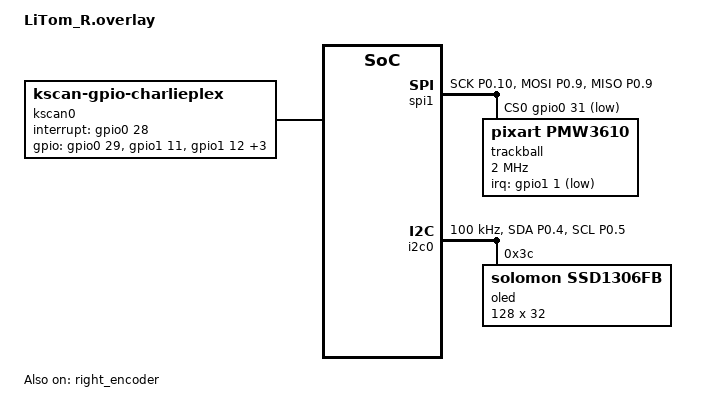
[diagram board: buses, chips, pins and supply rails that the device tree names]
#include <dt-bindings/zmk/matrix_transform.h>
#include <input/processors.dtsi>
#include <dt-bindings/zmk/input_transform.h>
#include <zephyr/dt-bindings/input/input-event-codes.h>
#include <physical_layouts.dtsi>
#include "LiTom.dtsi"

/ {
    chosen {
        zmk,kscan = &kscan0;
        zmk,physical-layout = &default_layout;
        zephyr,display = &oled;
    };

    kscan0: kscan0 {
        compatible = "zmk,kscan-gpio-charlieplex";
        // ディープスリープからの復帰口。これが無いと zmk_pm_suspend_devices() が
        // kscan も停止させてしまい (割り込み無効化 + ピン切断)、起こす手段が無くなる。
        wakeup-source;
        interrupt-gpios = <&gpio0 28 (GPIO_ACTIVE_HIGH | GPIO_PULL_DOWN)>;
        gpios
            = <&gpio0 29 GPIO_ACTIVE_HIGH>
            , <&gpio1 11 GPIO_ACTIVE_HIGH>
            , <&gpio1 12 GPIO_ACTIVE_HIGH>
            , <&gpio1 13 GPIO_ACTIVE_HIGH>
            , <&gpio1 14 GPIO_ACTIVE_HIGH>
            , <&gpio1 15 GPIO_ACTIVE_HIGH>
            ;
    };

    trackball_listener: trackball_listener {
        compatible = "zmk,input-listener";
        status = "disabled";
        device = <&trackball>;
    };

    // 慣性スクロール (iOS風): 玉を弾いて離すとスクロールが減衰しながら続く。
    // https://github.com/mjmjm0101/zmk-input-processor-scroll-inertia
    //
    // 設定値は zen-firmware の input-trackball-pmw3610 スニペットに合わせている。
    // 慣性出力は下流のプロセッサをバイパスしてホストへ直接送られるため、
    // scale / scale-div は下流 &zip_scroll_scaler の引数と一致させること。
    //
    // DYA Studio でのスクロール速度調整は &scroll_runtime_input_processor が
    // 担当する。これは慣性の「上流」に置いてあるので、Studio で倍率を変えると
    // 慣性が計測する速度自体が変わり、実スクロールと慣性が自動で同じだけ
    // スケールする。したがってここでは静的スケーラの分だけを見ればよい。
    scroll_inertia: scroll_inertia {
        compatible = "zmk,input-processor-scroll-inertia";
        #input-processor-cells = <0>;

        // 0 = 縦横フリー(zip_xy_to_scroll_mapper の挙動に合わせる), 1 = 縦のみ, 2 = 横のみ
        axis = <0>;
        layer = <2>;

        scale = <1>;
        scale-div = <13>;

        // --- センサーの送信間隔 16ms (62.5Hz) に合わせた値 ---
        // CONFIG_PMW3610_REPORT_INTERVAL_MIN=16 でイベント間隔が 8ms から
        // 16ms になったため、既定値 (125Hz 前提) から調整している。
        // 換算は本家 Wiki の Polling Rate Tuning Starting Points にある
        // 125Hz -> 250Hz の例を逆向きにたどったもの。
        // 送信間隔を 8ms に戻すなら、ここも括弧内の元の値へ戻すこと。

        // 慣性ループの間隔。センサーのレートに合わせる。
        tick = <16>;          // 8ms のときは 8

        // 打ち切り周波数 = stop * scale * (1000 / tick) / scale-div。
        // tick が倍になった分、同じ約 9.6Hz にするには stop も倍にする。
        stop = <2>;           // 8ms のときは 1

        // 指を離したと見なすまでの時間。3 フレーム相当。
        release = <48>;       // 既定 24 (125Hz で 3 フレーム)

        // 1 tick あたりの減衰率。tick が倍になったので、同じ時間で同じだけ
        // 減るように 0.990^2 = 0.980 とする。
        decay-fast = <980>;   // 既定 990
        decay-slow = <980>;   // 既定 990
        decay-tail = <980>;   // 既定 990
        peak-decay = <980>;   // 既定 990

        // --- 発動しやすさの調整 ---
        // 既定 (start=40 / move=80) は 1000cpi 基準。この機体は 600cpi で、
        // Studio 倍率 1.35 を掛けても 810cpi 相当なので約2割厳しい。
        // 「結構強く弾かないと効かない」ため、そこからさらに下げている。
        // 軽く転がしただけで惰性が乗るようなら既定値へ戻すこと。
        // 送信間隔を 16ms にすると 1 イベントあたりの移動量は倍になるが、
        // 本家 Wiki の例でもレートを変えて start / move は据え置いている
        // ので、まずはそのままにする。慣性が出やすくなったと感じたら上げる。
        start = <25>;      // 既定 40
        move = <50>;       // 既定 80

        // armed になるまでに必要なイベント数。時間で揃えるため、イベント
        // 間隔が倍になった分だけ半分にする (7 x 8ms ≒ 4 x 16ms ≒ 60ms)。
        min-events = <4>;  // 8ms のときは 7

        // 速度が小さいほど相対的に強く効く追加ブレーキ。1 tick ごとに引く
        // ので、tick が倍になった分だけ 1 回の量を倍にする。
        friction = <30>;   // 8ms のときは 15

        // COASTING 中に同方向イベントを吸収し続ける上限。これも時間で
        // 揃えるため半分にする (約 400ms 相当)。
        suppress-limit = <25>;  // 既定 50
    };
};

&default_transform {
    col-offset = <6>;
};

&right_encoder {
    status = "okay";
};

// XIAO Plus extra pins from the schematic:
// REA0=D11(P0.15), REA1=D12(P0.19), MOTION=D13(P1.01),
// SDIO=D14(P0.09), SCLK=D15(P0.10), CS=D16(P0.31).

// PMW3610設定 - SPI1を使用
&spi1 {
    status = "okay";
    cs-gpios = <&gpio0 31 GPIO_ACTIVE_LOW>;
    pinctrl-0 = <&spi1_default>;
    pinctrl-1 = <&spi1_sleep>;
    pinctrl-names = "default", "sleep";
    compatible = "nordic,nrf-spim";

    trackball: pd@0 {
        status = "okay";
        compatible = "pixart,pmw3610";
        reg = <0>;
        spi-max-frequency = <2000000>;
        irq-gpios = <&gpio1 1 (GPIO_ACTIVE_LOW | GPIO_PULL_UP)>;
        cpi = <600>;
        evt-type = <INPUT_EV_REL>;
        x-input-code = <INPUT_REL_X>;
        y-input-code = <INPUT_REL_Y>;

        // ZMK が ACTIVE の間はセンサーの省電力降格を止め、初動の遅れを無くす。
        // PMW3610 の降格はセンサー自身の動きだけで決まるため、これが無いと
        // タイピング中にセンサーが REST3 (500ms サンプリング) まで落ち、
        // ボールに触れてから反応するまで最大 0.5 秒かかる。
        // ZMK が IDLE (CONFIG_ZMK_IDLE_TIMEOUT、既定 30 秒) になると
        // ドライバが自動で解除するので、放置時の消費は従来どおり。
        force-awake;
    };
};

&trackball_listener {
    status = "okay";
    input-processors = <&mouse_runtime_input_processor>;

    // レイヤー2 (SCROLL) ではトラックボールをスクロールとして扱う。
    // 並び順が重要:
    //   1. ランタイムスケーラ (Studio 可変) を慣性の「上流」に置く
    //      -> Studio で倍率を変えると慣性の計測速度も一緒に変わり、
    //         実スクロールと慣性が常に一致する
    //   2. 固定の縮小は慣性の「下流」の zip_scroll_scaler にまとめる
    //      -> 慣性はこの比率を scale/scale-div でミラーする
    // ランタイム側を 1:1 にしてあるのは、ここで大きく割ると慣性へ渡る値が
    // 0 に潰れて速度計測が壊れるため (下の &scroll_runtime_input_processor)。
    scroll {
        layers = <2>;
        input-processors = <&zip_xy_transform (INPUT_TRANSFORM_Y_INVERT)>, <&zip_xy_to_scroll_mapper>, <&scroll_runtime_input_processor>, <&scroll_inertia>, <&zip_scroll_scaler 1 13>;
    };
};

// NOTE: &scroll_runtime_input_processor の倍率既定値 (1:1) は LiTom.keymap 側で
// 設定している。ラベルを定義する runtime-input-processor.dtsi を include して
// いるのが keymap で、こちらは overlay より後に処理されるため、overlay では
// ノード上書き構文が使えない (プロパティ内の <&label> 参照は後段で解決される
// ので問題ない)。

// 右手OLED用I2C設定
&pinctrl {
    i2c0_default: i2c0_default {
        group1 {
            psels = <NRF_PSEL(TWIM_SDA, 0, 4)>,
                    <NRF_PSEL(TWIM_SCL, 0, 5)>;
        };
    };

    i2c0_sleep: i2c0_sleep {
        group1 {
            psels = <NRF_PSEL(TWIM_SDA, 0, 4)>,
                    <NRF_PSEL(TWIM_SCL, 0, 5)>;
            low-power-enable;
        };
    };
};

// SPI設定 (PMW3610用) - SPI1を使用してI2C0との競合を回避
&pinctrl {
    spi1_default: spi1_default {
        group1 {
            psels = <NRF_PSEL(SPIM_SCK, 0, 10)>,
                <NRF_PSEL(SPIM_MOSI, 0, 9)>,
                <NRF_PSEL(SPIM_MISO, 0, 9)>;
        };
    };

    spi1_sleep: spi1_sleep {
        group1 {
            psels = <NRF_PSEL(SPIM_SCK, 0, 10)>,
                <NRF_PSEL(SPIM_MOSI, 0, 9)>,
                <NRF_PSEL(SPIM_MISO, 0, 9)>;
            low-power-enable;
        };
    };
};

// xiao_ble board enables i2c1 by default on D4/D5, but SPIM1 and TWI1 share
// the same nRF peripheral instance. Right half uses SPI1 for PMW3610, so keep
// the OLED on I2C0 and disable I2C1.
&i2c1 {
    status = "disabled";
};

&i2c0 {
    status = "okay";
    compatible = "nordic,nrf-twi";
    pinctrl-0 = <&i2c0_default>;
    pinctrl-1 = <&i2c0_sleep>;
    pinctrl-names = "default", "sleep";
    clock-frequency = <100000>;

    oled: ssd1306@3c {
        compatible = "solomon,ssd1306fb";
        reg = <0x3c>;
        width = <128>;
        height = <32>;
        segment-offset = <0>;
        page-offset = <0>;
        display-offset = <0>;
        multiplex-ratio = <31>;
        com-sequential;
        inversion-on;
        prechargep = <0x22>;
    };
};

&xiao_serial { status = "disabled"; };
&uart0 { status = "disabled";};
